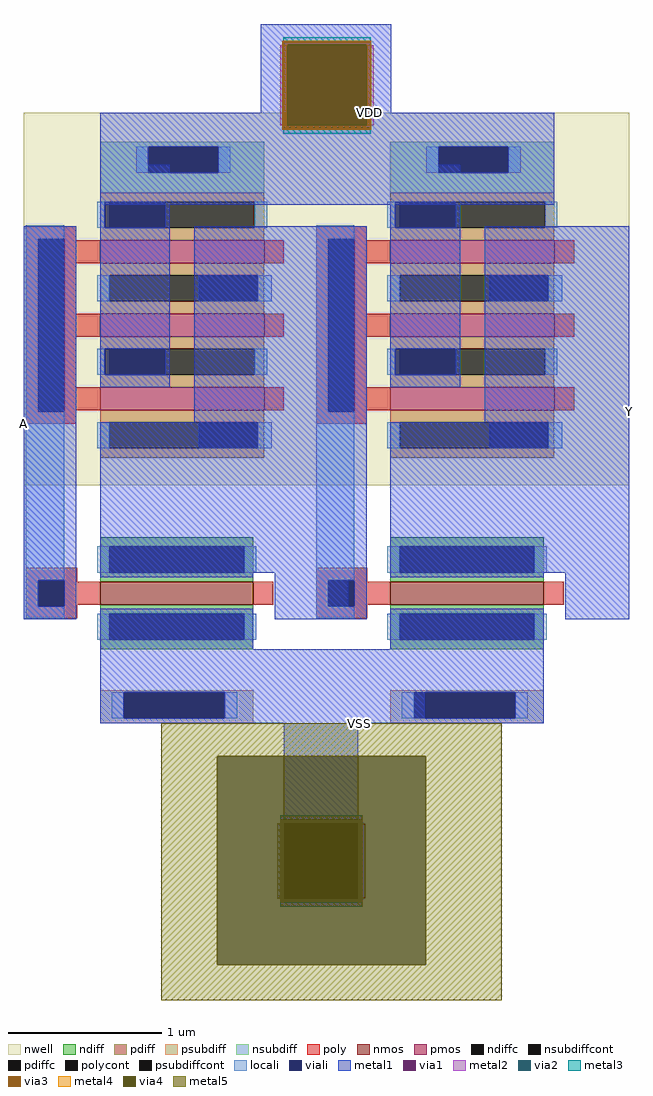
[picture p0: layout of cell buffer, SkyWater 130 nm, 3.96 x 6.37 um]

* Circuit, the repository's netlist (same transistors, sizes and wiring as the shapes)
** sch_path: /home/erhangok/Documents/Dersler/VLSI/vlsi_sky130b/design/xschem/INV/buffer.sch
**.subckt buffer A Y
*.ipin A
*.opin Y
x1 A VSS VDD net1 inv
x2 net1 VSS VDD Y inv
**.ends

* expanding   symbol:  inv.sym # of pins=2
** sym_path: /home/erhangok/Documents/Dersler/VLSI/vlsi_sky130b/design/xschem/INV/inv.sym
** sch_path: /home/erhangok/Documents/Dersler/VLSI/vlsi_sky130b/design/xschem/INV/inv.sch
.subckt inv A VSS VDD Y
*.ipin A
*.opin Y
XM1 Y A VDD VDD sky130_fd_pr__pfet_01v8 L=0.15 W=3.21 nf=3 ad='int((nf+1)/2) * W/nf * 0.29' as='int((nf+2)/2) * W/nf * 0.29' pd='2*int((nf+1)/2) * (W/nf + 0.29)'
+ ps='2*int((nf+2)/2) * (W/nf + 0.29)' nrd='0.29 / W' nrs='0.29 / W' sa=0 sb=0 sd=0 mult=1 m=1
XM2 Y A VSS VSS sky130_fd_pr__nfet_01v8 L=0.15 W=1 nf=1 ad='int((nf+1)/2) * W/nf * 0.29' as='int((nf+2)/2) * W/nf * 0.29' pd='2*int((nf+1)/2) * (W/nf + 0.29)'
+ ps='2*int((nf+2)/2) * (W/nf + 0.29)' nrd='0.29 / W' nrs='0.29 / W' sa=0 sb=0 sd=0 mult=1 m=1
.ends

.end

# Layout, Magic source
magic
tech sky130B
magscale 1 2
<< nwell >>
rect 309 632 519 736
rect -5 328 -3 334
rect 407 250 419 632
rect 785 345 786 347
<< metal1 >>
rect 305 824 475 852
rect 305 720 339 824
rect 443 736 475 824
rect 443 720 519 736
rect 305 691 519 720
rect 309 632 519 691
rect 309 616 474 632
rect -5 328 -3 334
rect 407 75 419 588
rect 785 345 786 347
rect 295 -61 519 36
rect 335 -192 432 -61
rect 335 -295 432 -289
<< via1 >>
rect 339 720 443 824
rect 335 -289 432 -192
<< metal2 >>
rect 330 720 339 824
rect 443 720 452 824
rect 326 -289 335 -192
rect 432 -289 441 -192
<< via2 >>
rect 339 720 443 824
rect 335 -289 432 -192
<< metal3 >>
rect 334 829 448 835
rect 334 709 448 715
rect 330 -187 437 -181
rect 330 -300 437 -294
<< via3 >>
rect 334 824 448 829
rect 334 720 339 824
rect 339 720 443 824
rect 443 720 448 824
rect 334 715 448 720
rect 330 -192 437 -187
rect 330 -289 335 -192
rect 335 -289 432 -192
rect 432 -289 437 -192
rect 330 -294 437 -289
<< metal4 >>
rect 333 829 449 830
rect 333 715 334 829
rect 448 715 449 829
rect 333 714 449 715
<< via4 >>
rect 248 -187 520 -104
rect 248 -294 330 -187
rect 330 -294 437 -187
rect 437 -294 520 -187
rect 248 -376 520 -294
<< metal5 >>
rect 175 -104 619 -61
rect 175 -376 248 -104
rect 520 -376 619 -104
rect 175 -422 619 -376
use inv  inv_0
transform 1 0 -5 0 1 250
box 0 -311 412 486
use inv  inv_1
transform 1 0 374 0 1 250
box 0 -311 412 486
<< labels >>
rlabel metal1 -5 331 -5 331 3 A
port 1 e
rlabel metal1 433 -61 433 -61 5 VSS
port 2 s
rlabel metal1 786 346 786 346 3 Y
port 4 e
rlabel metal1 446 736 446 736 5 VDD
port 3 s
<< end >>

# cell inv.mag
magic
tech sky130B
magscale 1 2
<< nwell >>
rect 0 366 412 486
rect 101 347 104 366
rect 223 290 343 338
rect 326 288 343 290
rect 376 0 412 366
<< psubdiff >>
rect 100 -270 300 -268
rect 100 -304 131 -270
rect 263 -304 300 -270
rect 100 -311 300 -304
<< nsubdiff >>
rect 100 442 314 448
rect 100 408 163 442
rect 254 408 314 442
rect 100 382 314 408
<< psubdiffcont >>
rect 131 -304 263 -270
<< nsubdiffcont >>
rect 163 408 254 442
<< poly >>
rect 3 -124 70 -108
rect 3 -158 19 -124
rect 53 -126 70 -124
rect 53 -156 75 -126
rect 53 -158 70 -156
rect 3 -174 70 -158
<< polycont >>
rect 19 -158 53 -124
<< locali >>
rect 147 408 163 442
rect 254 408 270 442
rect 3 -124 53 339
rect 3 -158 19 -124
rect 3 -174 53 -158
rect 115 -304 131 -270
rect 263 -304 279 -270
<< viali >>
rect 163 408 254 442
rect 19 -158 53 -124
rect 131 -304 263 -270
<< metal1 >>
rect 100 442 314 486
rect 100 408 163 442
rect 254 408 314 442
rect 100 366 314 408
rect 101 347 104 366
rect 0 80 53 338
rect 223 82 412 338
rect 0 -124 69 80
rect 100 -114 412 82
rect 0 -158 19 -124
rect 53 -158 69 -124
rect 0 -175 69 -158
rect 100 -270 300 -161
rect 328 -175 412 -114
rect 100 -304 131 -270
rect 263 -304 300 -270
rect 100 -311 300 -304
use efepmos_W107-L15-F3  efepmos_W107-L15-F3_0
transform 0 1 207 -1 0 209
box -209 -207 209 169
use sky130_fd_pr__nfet_01v8_6H9P4D  sky130_fd_pr__nfet_01v8_6H9P4D_0
transform 0 1 200 -1 0 -141
box -73 -126 73 126
<< labels >>
rlabel metal1 0 78 0 78 3 A
port 1 e
rlabel metal1 198 -311 198 -311 5 VSS
port 2 s
rlabel metal1 210 486 210 486 5 VDD
port 3 s
rlabel metal1 412 78 412 78 3 Y
port 4 e
<< end >>

# cell efepmos_W107-L15-F3: kit device sky130_fd_pr__pfet_01v8, w 1.07 l 0.15 m 1 nf 3 diffcov 100 polycov 100 guard 0 glc 1 grc 1 gtc 1 gbc 1 tbcov 100 rlcov 100 topc 0 botc 0 poverlap 0 doverlap 1 lmin 0.15 wmin 0.42 compatible {sky130_fd_pr__pfet_01v8 sky130_fd_pr__pfet_01v8_lvt sky130_fd_pr__pfet_01v8_hvt sky130_fd_pr__pfet_g5v0d10v5} full_metal 1 viasrc 100 viadrn 100 viagate 100 viagb 0 viagr 0 viagl 0 viagt 0

# cell sky130_fd_pr__nfet_01v8_6H9P4D: kit device sky130_fd_pr__nfet_01v8, w 1 l 0.150 m 1 nf 1 diffcov 100 polycov 100 guard 0 glc 1 grc 1 gtc 1 gbc 1 tbcov 100 rlcov 100 topc 0 botc 0 poverlap 0 doverlap 1 lmin 0.15 wmin 0.42 compatible {sky130_fd_pr__nfet_01v8 sky130_fd_pr__nfet_01v8_lvt sky130_fd_bs_flash__special_sonosfet_star sky130_fd_pr__nfet_g5v0d10v5 sky130_fd_pr__nfet_05v0_nvt sky130_fd_pr__nfet_03v3_nvt} full_metal 1 viasrc 100 viadrn 100 viagate 100 viagb 0 viagr 0 viagl 0 viagt 0
